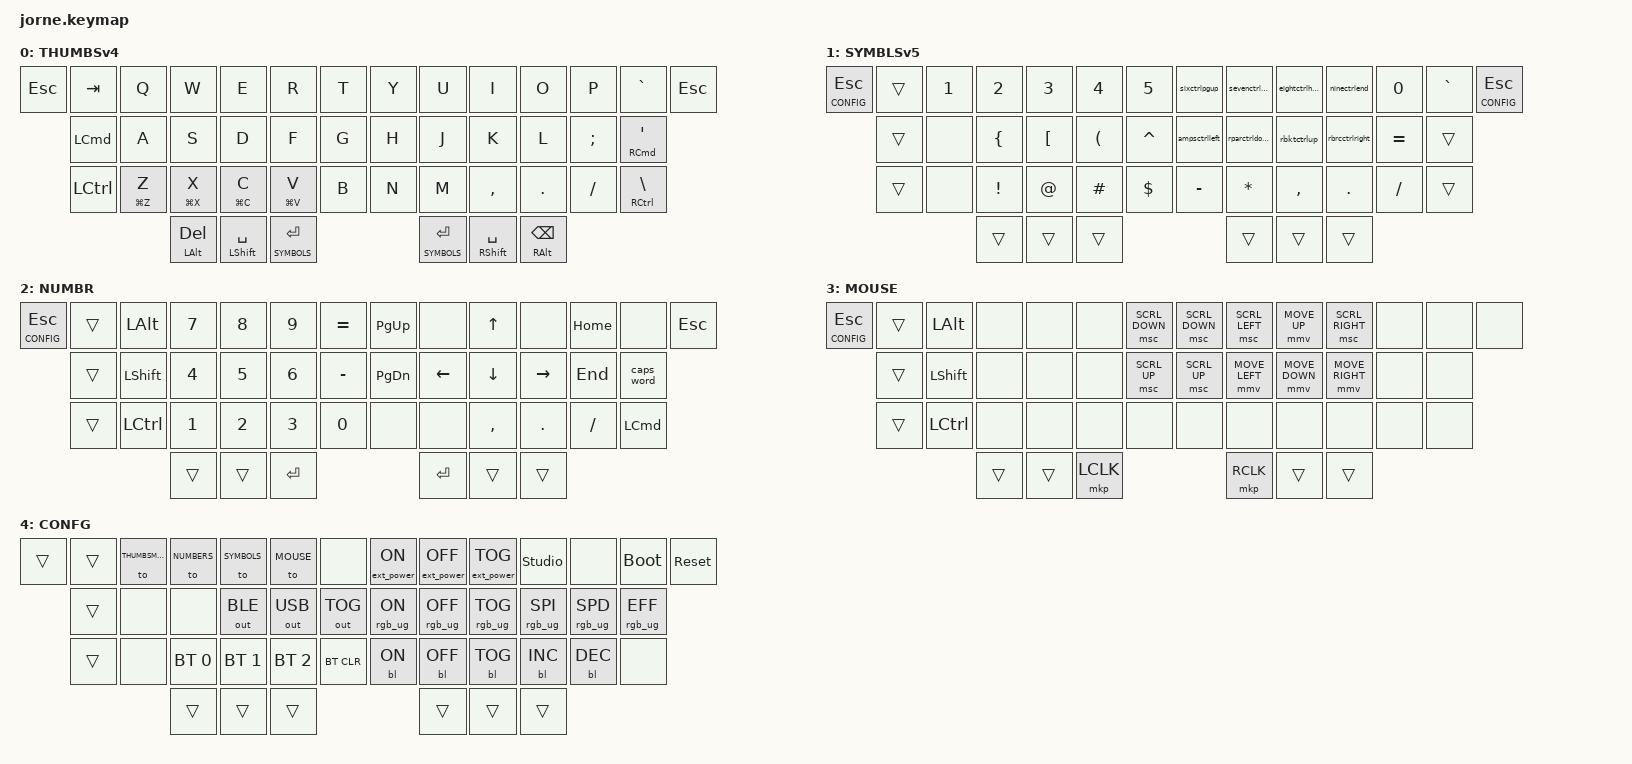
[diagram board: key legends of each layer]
/*
 * Copyright (c) 2024 The ZMK Contributors
 *
 * SPDX-License-Identifier: MIT
 */

#include <behaviors.dtsi>
#include <dt-bindings/zmk/keys.h>
#include <dt-bindings/zmk/bt.h>
#include <dt-bindings/zmk/outputs.h>
#include <dt-bindings/zmk/ext_power.h>
#include <dt-bindings/zmk/mouse.h>
#include <dt-bindings/zmk/backlight.h>
#include <dt-bindings/zmk/rgb.h>

#define THUMBSMAC 0
#define SYMBOLS 1
#define NUMBERS 2
#define MOUSE 3
#define CONFIG 4

/ {
        behaviors {
                // Home rows mod
                hm: homerow_mod {
                        compatible = "zmk,behavior-hold-tap";
                        #binding-cells = <2>;
                        tapping_term_ms = <280>;
                        quick-tap-ms = <170>;
                        require-prior-idle-ms = <125>;
                        flavor = "tap-preferred";
                        bindings = <&kp>, <&kp>;
                        display-name = "Home-Mod";
                };

                // Mod on hold, key on tap (generic)
                mth: mod_tap_hold {
                        compatible = "zmk,behavior-hold-tap";
                        #binding-cells = <2>;
                        // https://zmk.dev/docs/keymaps/behaviors/hold-tap#tapping-term-ms
                        // This value defines how long a key must be pressed to trigger the "hold" behavior, alongside other factors described in interrupt flavors. The default is 200ms.
                        tapping_term_ms = <185>;
                        // https://zmk.dev/docs/keymaps/behaviors/hold-tap#quick-tap-ms
                        // If you press a tapped hold-tap again within quick-tap-ms milliseconds of the first press, it will always trigger the tap behavior. This is useful for keys like backspace, where a quick tap-then-hold can be used to hold it down to delete long parts of text.
                        quick-tap-ms = <145>;
                        // https://zmk.dev/docs/keymaps/behaviors/hold-tap#require-prior-idle-ms
                        // If a hold-tap is pressed within require-prior-idle-ms of another non-modifier key (not behavior), then the hold-tap will always resolve in a tap. This effectively disables the hold-tap when typing quickly, which can be quite useful for home-row mods. It can also have the effect of removing the input delay when typing quickly, since the hold-tap immediately resolves to a tap on key press.
                        require-prior-idle-ms = <100>;
                        // https://zmk.dev/docs/keymaps/behaviors/hold-tap#interrupt-flavors
                        flavor = "tap-preferred";
                        // flavor = "balanced";
                        // flavor = "hold-preferred";
                        // flavor = "balanced";
                        bindings = <&kp>, <&kp>;
                        display-name = "Mod-Tap-Hold";
                };

                // Layer on hold, key on tap
                thl: tap_hold_layer {
                        compatible = "zmk,behavior-hold-tap";
                        #binding-cells = <2>;
                        // tapping_term_ms = <150>;
                        tapping_term_ms = <190>;
                        quick-tap-ms = <145>;
                        require-prior-idle-ms = <110>;
                        flavor = "tap-preferred";
                        bindings = <&mo>, <&kp>;
                        display-name = "Tap-Hold-Layer";
                };

                // on tap key, on hold copy, paste, cut
                cpx: copypastecut {
                        compatible = "zmk,behavior-hold-tap";
                        #binding-cells = <2>;
                        tapping_term_ms = <210>;
                        quick-tap-ms = <160>;
                        require-prior-idle-ms = <120>;
                        flavor = "tap-preferred";
                        bindings = <&kp>, <&kp>;
                        display-name = "Copy-Paste-Cut";
                };

                // on tap CONFIG, on double tap MOUSE
                dt_config_mouse: config_mouse {
                        compatible = "zmk,behavior-tap-dance";
                        #binding-cells = <0>;
                        tapping-term-ms = <170>;
                        bindings = <&mo CONFIG>, <&tog MOUSE>;
                        display-name = "Config/Mouse Toggle";
                };

                // on tap SYMBOLS, on double tap MOUSE
                dt_symbols_mouse: symbols_mouse {
                        compatible = "zmk,behavior-tap-dance";
                        #binding-cells = <0>;
                        tapping-term-ms = <170>;
                        bindings = <&mo SYMBOLS>, <&tog MOUSE>;
                        display-name = "Symbols/Mouse Toggle";
                };

                // on tap TAB, on double tap ESC and on hold LALT
                // dth_tab_esc_holdalt: double_tap_tab_esc_holdlalt {
                //         compatible = "zmk,behavior-tap-dance";
                //         #binding-cells = <0>;
                //         tapping-term-ms = <190>;
                //         bindings = <&mt LALT TAB>, <&kp ESC>;
                //         display-name = "Tab/Esc/LAlt";
                // };

                // on tap RIGHT_BRACKET, on double tap ESC and on hold RALT
                // dth_rbkt_esc_holdralt: double_tap_rbkt_esc_holdralt {
                //         compatible = "zmk,behavior-tap-dance";
                //         #binding-cells = <0>;
                //         tapping-term-ms = <190>;
                //         bindings = <&mt RALT RIGHT_BRACKET>, <&kp ESC>;
                //         display-name = "RBrkt/Esc/RAlt";
                // };

                // on tap ], on Ctrl+tap UP
                rbktctrlup: rbkt_ctrl_up {
                        compatible = "zmk,behavior-mod-morph";
                        #binding-cells = <0>;
                        bindings = <&kp RBKT>, <&kp UP>;
                        mods = <(MOD_LCTL|MOD_RCTL)>;
                        display-name = "]/Ctrl+Up";
                };

                // on tap *, on Ctrl+tap LEFT
                ampsctrlleft: amps_ctrl_left {
                        compatible = "zmk,behavior-mod-morph";
                        #binding-cells = <0>;
                        bindings = <&kp AMPS>, <&kp LEFT>;
                        mods = <(MOD_LCTL|MOD_RCTL)>;
                        display-name = "&/Ctrl+Left";
                };

                // on tap ), on Ctrl+tap DOWN
                rparctrldown: rpar_ctrl_down {
                        compatible = "zmk,behavior-mod-morph";
                        #binding-cells = <0>;
                        bindings = <&kp RPAR>, <&kp DOWN>;
                        mods = <(MOD_LCTL|MOD_RCTL)>;
                        display-name = ")/Ctrl+Down";
                };

                // on tap }, on Ctrl+tap RIGHT
                rbrcctrlright: rbrc_ctrl_right {
                        compatible = "zmk,behavior-mod-morph";
                        #binding-cells = <0>;
                        bindings = <&kp RBRC>, <&kp RIGHT>;
                        mods = <(MOD_LCTL|MOD_RCTL)>;
                        display-name = "}/Ctrl+Right";
                };

                // on tap 6, on Ctrl+tap PGUP
                sixctrlpgup: six_ctrl_pgup {
                        compatible = "zmk,behavior-mod-morph";
                        #binding-cells = <0>;
                        bindings = <&kp N6>, <&kp PG_UP>;
                        mods = <(MOD_LCTL|MOD_RCTL)>;
                        display-name = "6/Ctrl+PgUp";
                };

                // on tap 7, on Ctrl+tap PDOWN
                sevenctrlpgdn: seven_ctrl_pgdn {
                        compatible = "zmk,behavior-mod-morph";
                        #binding-cells = <0>;
                        bindings = <&kp N7>, <&kp PG_DN>;
                        mods = <(MOD_LCTL|MOD_RCTL)>;
                        display-name = "7/Ctrl+PgDn";
                };

                // on tap 8, on Ctrl+tap HOME
                eightctrlhome: eight_ctrl_home {
                        compatible = "zmk,behavior-mod-morph";
                        #binding-cells = <0>;
                        bindings = <&kp N8>, <&kp HOME>;
                        mods = <(MOD_LCTL|MOD_RCTL)>;
                        display-name = "8/Ctrl+Home";
                };

                // on tap 9, on Ctrl+tap END
                ninectrlend: nine_ctrl_end {
                        compatible = "zmk,behavior-mod-morph";
                        #binding-cells = <0>;
                        bindings = <&kp N9>, <&kp END>;
                        mods = <(MOD_LCTL|MOD_RCTL)>;
                        display-name = "9/Ctrl+End";
                };
        };

        keymap {
                compatible = "zmk,keymap";


                thumbsmac_layer {
                        label = "THUMBSv4";
// | ESC | TAB  |  Q  |  W  |  E  |  R  |  T  |             |  Y  |  U  |    I    |   O   |   P   |      `/~      | ESC |
//       | CMD  |  A  |  S  |  D  |  F  |  G  |             |  H  |  J  |    K    |   L   | ; ∆ : | ¬CMD ∆ ' ø "  |
//       | CTRL |  Z  |  X  |  C  |  V  |  B  |             |  N  |  M  |  , ø <  | . ø > | / ∆ ? | ¬CTRL ∆ \ ø | |
//   | ¬LALT ∆ DEL | ¬LSHF ∆ SPC | ¬SYMBLS ∆ RET |       | ¬SYMBLS ∆ RET | ¬RSHF ∆ SPC | ¬RALT ∆ BKSP |
                        bindings = <
   &kp ESC   &kp TAB    &kp Q         &kp W         &kp E         &kp R         &kp T               &kp Y      &kp U      &kp I       &kp O       &kp P      &kp GRAVE                 &kp ESC
             &kp LCMD   &kp A         &kp S         &kp D         &kp F         &kp G               &kp H      &kp J      &kp K       &kp L       &kp SEMI   &mth RCMD SINGLE_QUOTE
             &kp LCTRL  &cpx LG(Z) Z  &cpx LG(X) X  &cpx LG(C) C  &cpx LG(V) V  &kp B               &kp N      &kp M      &kp COMMA   &kp DOT     &kp FSLH   &mth RCTRL BACKSLASH
                                       &mth LALT DEL   &mth LSHFT SPACE   &thl SYMBOLS RET    &thl SYMBOLS RET   &mth RSHFT SPACE   &mth RALT BSPC
                        >;
                };


                symbols_layer {
                        label = "SYMBLSv5";
// -------------------------------------------JORNE--SYMBOLSv4----------------------------------------------
// | CONFIG ø ESC |  -v-  |  1  |  2  |  3  |  4  |  5  |             | 6/PGUP | 7/PGDN | 8/HOME |  9/END  |   0   | ` ∆ ~ | CONFIG ø ESC |
//                |  -v-  |     |  {  |  [  |  (  |  ^  |             | &/LEFT | )/DOWN |  ]/UP  | }/RIGHT | + ∆ = |  -v-  |
//                |  -v-  |     |  !  |  @  |  #  |  $  |             | - ∆  _ |    *   | , ∆ <  |  . ∆ >  | / ∆ ? |  -v-  |
//                                 |  -v-  |  -v-  |  -v-  |       |  -v-  |  -v-  |  -v-  |     
                        bindings = <
   &thl CONFIG ESC   &trans  &kp N1    &kp N2    &kp N3    &kp N4    &kp N5           &sixctrlpgup     &sevenctrlpgdn  &eightctrlhome  &ninectrlend     &kp N0     &kp GRAVE   &thl CONFIG ESC
                     &trans  &none     &kp LBRC  &kp LBKT  &kp LPAR  &kp CARET        &ampsctrlleft    &rparctrldown   &rbktctrlup     &rbrcctrlright   &kp EQUAL  &trans
                     &trans  &none     &kp EXCL  &kp AT    &kp HASH  &kp DLLR         &kp MINUS        &kp STAR        &kp COMMA       &kp DOT          &kp FSLH   &trans
                                                        &trans  &trans  &trans      &trans  &trans  &trans
                        >;
                };

                ////////////////
                // OLD LAYERS //
                ////////////////

//                 symbols_layer {
//                         label = "SYMBLSv4";
// // -------------------------------------------JORNE--SYMBOLSv4----------------------------------------------
// // | CONFIG ø ESC |  -v-  |  1  |  2  |  3  |   4   |   5   |             | 6/PGUP | 7/HOME |  8/UP  |  9/END  |   0   |  -v-  | CONFIG ø ESC |
// //                |  -v-  |  !  |  @  |  #  |   $   |   %   |             | ^/PGDN | &/LEFT | */DOWN | (/RIGHT |   )   |  -v-  |
// //                |  -v-  |     |  (  |  )  | ] ø } | [ ø { |             |   -/_  |  +/=   |   ,/<  |   ./>   | / ∆ ? |  -v-  |
// //                                     |  -v-  |  -v-  |  -v-  |       |  -v-  |  -v-  |  -v-  |     
//                         bindings = <
//    &thl CONFIG ESC   &trans  &kp N1    &kp N2    &kp N3    &kp N4    &kp N5           &sixctrlpgup     &sevenctrlhome  &eightctrlup        &ninectrlend     &kp N0     &trans   &thl CONFIG ESC
//                      &trans  &kp EXCL  &kp AT    &kp HASH  &kp DLLR  &kp PRCNT        &caretctrlpgdn   &ampsctrlleft   &starandctrldown    &lparctrlright   &kp RPAR   &trans
//                      &trans  &none     &kp LPAR  &kp RPAR  &kp LBKT  &kp RBKT         &kp MINUS       &kp EQUAL      &kp COMMA          &kp DOT         &kp FSLH   &trans
//                                                         &trans  &trans  &trans      &trans  &trans  &trans
//                         >;
//                 };

                // thumbsmacold_layer {
                //         label = "THUMBS";
// | LALT-TAB-ESC | CONFG/MOUSE |  Q     |    W   |    E   |    R   |  T  |             |  Y  |    U   |    I   |    O   |    P   |  [/{  | RALT-]/} |
//                |    SYMBS    |  A     |    S   |    D   |    F   |  G  |             |  H  |    J   |    K   |    L   |    ;   |   '   |
//                |    NUMBS    |  Z     |    X   |    C   |    V   |  B  |             |  N  |    M   |   ,/<  |  ./>   |   /    |  \/|  |
//                                          | LCTRL-DEL | LSFT-SPC | LCMD-RET |      | RCMD-RET | RSTF-SPC | RCTRL-BKSP |
//                         bindings = <
//    &dth_tab_esc_holdalt   &dt_config_mouse  &kp Q    &kp W         &kp E         &kp R                       &kp T     &kp Y      &kp U      &kp I       &kp O       &kp P           &kp LEFT_BRACKET   &dth_rbkt_esc_holdralt
//                           &mo SYMBOLS       &kp A    &kp S         &kp D         &kp F                       &kp G     &kp H      &kp J      &kp K       &kp L       &kp SEMI        &kp SINGLE_QUOTE
//                           &none             &kp Z    &cpx LG(X) X  &cpx LG(C) C  &cpx LG(V) V                &kp B     &kp N      &kp M      &kp COMMA   &kp DOT     &kp FSLH        &kp BACKSLASH
//                                               &mth LCTRL DEL   &mth LSHFT SPACE  &mth LCMD RET        &mth RCMD RET   &mth RSHFT SPACE   &mth RCTRL BSPC
//                         >;
//                 };


                // symbolsold_layer {
                //         label = "SYMBLSv3";
// -------------------------------------------JORNE--SYMBOLSv3----------------------------------------------
// | TAB | CONFG/MOUSE |  1  |  2  |  3  |  4  |  5  |             | 6/PGUP | 7/HOME |  8/UP  |  9/END  |  0  | [/{  | ESC |
//       |     -v-     |  !  |  @  |  #  |  $  |  %  |             | ^/PGDN | &/LEFT | */DOWN | (/RIGHT |  )  | ]/} |
//       |     -v-     |     |     |     |     |     |             |   -/_  |  +/=   |   ,/<  |   ./>   |     | `/~ |
//                         | LCTRL-DEL | LSFT-SPC | RET |       | RET | RSTF-SPC | RCTRL-BKSP |     
//                         bindings = <
//    &kp TAB   &dt_config_mouse  &kp N1    &kp N2  &kp N3    &kp N4    &kp N5           &sixctrlpgup    &sevenctrlhome  &eightctrlup        &ninectrlend    &kp N0     &kp LBKT    &kp ESC
//              &trans            &kp EXCL  &kp AT  &kp HASH  &kp DLLR  &kp PRCNT        &caretctrlpgdn  &ampsctrlleft   &starandctrldown    &lparctrlright  &kp RPAR   &kp RBKT 
//              &trans            &none     &none   &none     &none     &none            &kp MINUS       &kp EQUAL       &kp COMMA           &kp DOT         &none      &kp GRAVE
//                                       &mth LCTRL DEL  &mth LSHFT SPACE  &kp RET   &kp RET  &mth RSHFT SPACE   &mth RCTRL BSPC
//                         >;
//                 };

                ////////////////////
                // OLD LAYERS END //
                ////////////////////


                numbers_layer {
                        label = "NUMBR";
// -----------------------------------------------------------------------------------------
// | -v- | CONFG | LALT |  7  |  8  |  9  | +/= |       | PGUP| ___ |  UP | ___ | HOME| ___  | ESC |
//       | -v-   | SHFT |  4  |  5  |  6  | -/_ |       | PGDN| LEFT| DOWN| RGHT| END | CAPS |
//       | -v-   | CTRL |  1  |  2  |  3  |  0  |       | ___ | ___ | ,/< | ./> |  /  | LCMD |
//                              | -v- | -v- | RET |   | RET | -v- | -v- |
                        bindings = <
   &thl CONFIG ESC &trans &kp LALT   &kp N7 &kp N8 &kp N9 &kp EQUAL          &kp PG_UP &none    &kp UP    &none     &kp HOME  &none     &kp ESC
                   &trans &kp LSHFT  &kp N4 &kp N5 &kp N6 &kp MINUS          &kp PG_DN &kp LEFT &kp DOWN  &kp RIGHT &kp END   &caps_word
                   &trans &kp LCTRL  &kp N1 &kp N2 &kp N3 &kp N0             &none     &none    &kp COMMA &kp DOT   &kp FSLH  &kp LCMD
                                             &trans &trans &kp RET    &kp RET  &trans &trans
                        >;
                };
 

                mouse_layer {
                        label = "MOUSE";
// -----------------------------------------------------------------------------------------
// | -v- | CONFG | LALT | ___ | ___ | ___ | SCRL_DOWN |   | SCRL_DOWN | SCRL_LEFT  |   MOVE_UP  | SCRL_RIGHT  | ___ | ___ | ___ |
//       |  -v-  | SHFT | ___ | ___ | ___ |  SCRL_UP  |   |  SCRL_UP  | MOVE_LEFT  | MOVE_DOWN  | MOVE_RIGHT  | ___ | ___ |
//       |  -v-  | CTRL | ___ | ___ | ___ |    ___    |   |    ___    |     ___    |    ___     |     ___     | ___ | -v- |
//                                 | -v- | -v- | LCLK |   |RCLK| -v- | -v- |
                        bindings = <
   &thl CONFIG ESC &trans &kp LALT  &none &none &none &msc SCRL_DOWN         &msc SCRL_DOWN &msc SCRL_LEFT &mmv MOVE_UP   &msc SCRL_RIGHT &none &none &none
                   &trans &kp LSHFT &none &none &none &msc SCRL_UP           &msc SCRL_UP   &mmv MOVE_LEFT &mmv MOVE_DOWN &mmv MOVE_RIGHT &none &none
                   &trans &kp LCTRL &none &none &none &none                  &none          &none          &none          &none           &none &none
                                           &trans &trans &mkp LCLK    &mkp RCLK &trans &trans
                        >;
                };


                config_layer {
                        label = "CONFG";
// -----------------------------------------------------------------------------------------
// | -v- | -v- |  THUMBSMAC   | NMBERS       |  SYMBOLS  |  MOUSE  | HOMEMODMAC |   | EXT_POWER_ON_CMD | EXT_POWER_OFF_CMD | EXT_POWER_TOGGLE_CMD |         | ZMK_STUDIO |  BLDR    | RST |
//       | -v- |  SYMBOLSTWO  | SYMBOLSTHREE | OUT_BLE   | OUT_TOG |   OUT_USB  |   |      RGB_ON      |      RGB_OFF      |       RGB_OG      | RGB_SPI |   RGB_SPD  |  RGB_EFF |
//       | -v- |  VALORANT    | BT0          | BT1       | BT2     | BTCLR      |   |      BL_ON       |      BL_OFF       |       BL_TOG         | BL_INC  |   BL_DEC   |    ___   |
//                                              | -v-       | -v-     | -v-     |   | -v- | -v- | -v- |
                        bindings = <
   &trans &trans  &to THUMBSMAC    &to NUMBERS    &to SYMBOLS   &to MOUSE     &none                  &ext_power EP_ON  &ext_power EP_OFF  &ext_power EP_TOG  &studio_unlock   &none            &bootloader      &sys_reset
          &trans  &none            &none          &out OUT_BLE  &out OUT_USB  &out OUT_TOG           &rgb_ug RGB_ON    &rgb_ug RGB_OFF    &rgb_ug RGB_TOG    &rgb_ug RGB_SPI  &rgb_ug RGB_SPD  &rgb_ug RGB_EFF
          &trans  &none            &bt BT_SEL 0   &bt BT_SEL 1  &bt BT_SEL 2  &bt BT_CLR             &bl BL_ON         &bl BL_OFF         &bl BL_TOG         &bl BL_INC       &bl BL_DEC       &none
                                                                           &trans &trans &trans   &trans &trans &trans
                        >;
                };
        };
};
